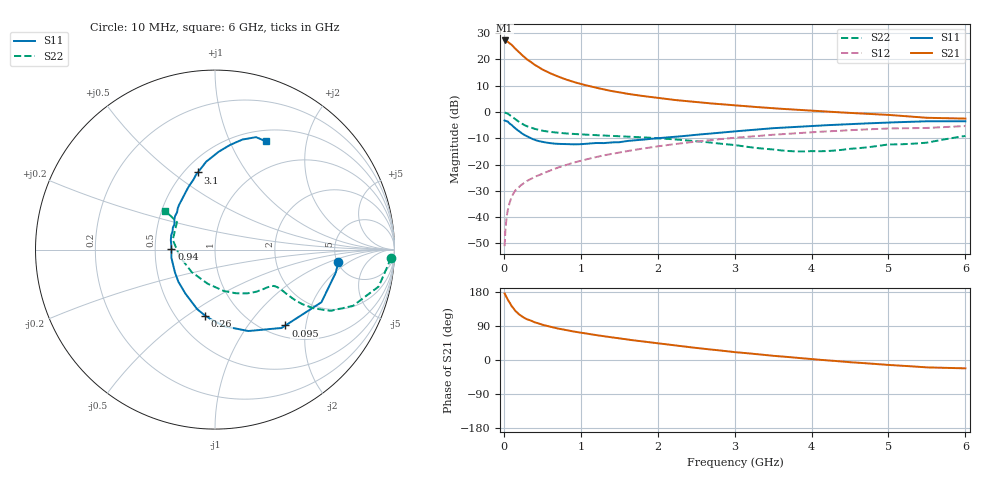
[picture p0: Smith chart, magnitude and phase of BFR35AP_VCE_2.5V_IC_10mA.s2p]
! Infineon Technologies  Discrete & RF Semiconductors
! BFR35AP
! VCE =  2.5 V,  IC =  10 mA
! Common Emitter S-Parameters:  Nov 2015
# GHz  S  MA  R  50
!  f  S11  S21  S12  S22
! GHz  MAG  ANG  MAG  ANG  MAG  ANG  MAG  ANG
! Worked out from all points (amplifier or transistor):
!   210 points, 10 MHz to 6 GHz, reference 50 ohm
!   highest |S21| = 27.2 dB at 10 MHz (marker M1)
!   |S21| within 3 dB of that: start of sweep to 145.1 MHz
!   unconditionally stable (mu >= 1): 548.1 MHz to 3.496 GHz
!   at 185 MHz: K = 0.57, MSG = 26.0 dB, |S12| = -28.8 dB
!   at 1.52 GHz: K = 1.12, MAG = 9.2 dB, |S12| = -15.3 dB
!   at 6 GHz: K = 0.97, MSG = 1.4 dB, |S12| = -5.3 dB
!   S11 on the Smith chart (normalised r, x): 10 MHz: 5.12, -1.32; 95 MHz: 1.22, -1.54; 260 MHz: 0.69, -0.59; 940 MHz: 0.61, +0.00; 3.1 GHz: 0.58, +0.62; 6 GHz: 0.63, +1.37
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0.01  0.6912 -5.6  23.02 175.7  0.0028 86.2  0.9815 -2.6
0.02  0.6849 -10.8  22.69 171.3  0.0055 85.8  0.9675 -5.2
0.05  0.6616 -26.3  21.86 159.5  0.0133 77.6  0.9348 -12.7
0.095  0.5768 -47.1  19.32 144.6  0.023 69.7  0.8394 -21.1
0.1  0.5728 -49.7  19.13 142.7  0.0241 69.2  0.8301 -22.2
0.15  0.4903 -67.7  16.04 129.4  0.0324 64.0  0.7291 -27.9
0.2  0.4304 -83.1  13.66 120.0  0.0379 62.1  0.6456 -30.6
0.24  0.3876 -93.7  12.02 114.4  0.0423 61.2  0.5942 -31.6
0.26  0.3717 -98.6  11.31 111.9  0.0444 61.0  0.5725 -32.0
0.3  0.346 -106.7  10.08 107.5  0.0486 61.2  0.5369 -32.3
0.4  0.2958 -123.8  7.935 99.6  0.058 61.7  0.4787 -31.9
0.5  0.2714 -138.8  6.467 92.9  0.0668 62.8  0.4407 -31.3
0.6  0.2562 -150.9  5.489 87.7  0.0772 63.6  0.4185 -31.0
0.7  0.2479 -160.8  4.767 83.2  0.087 64.0  0.4043 -31.1
0.94  0.2428 179.2  3.621 74.2  0.112 63.8  0.38 -32.2
1.02  0.2454 173.2  3.361 71.5  0.1201 63.6  0.3744 -33.0
1.4  0.2648 152.4  2.509 59.9  0.1595 61.4  0.3529 -37.8
2.02  0.3187 129.1  1.835 43.4  0.2243 55.4  0.3151 -49.3
3.1  0.4403 102.5  1.305 19.1  0.3322 42.2  0.2242 -82.2
4.1  0.553 86.7  1.04 0.7  0.4204 29.1  0.1793 -142.7
5.1  0.6384 74.7  0.86 -14.2  0.4881 15.2  0.2423 162.1
6  0.6669 64.9  0.75 -22.0  0.5409 5.1  0.3507 142.0
